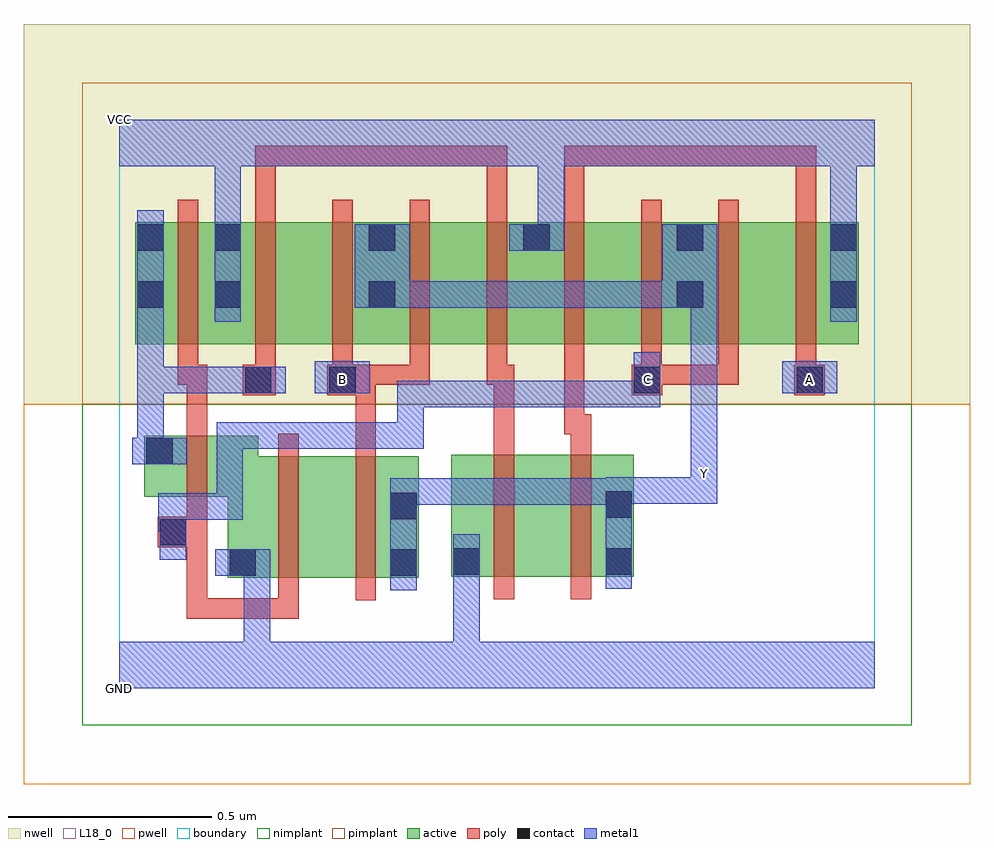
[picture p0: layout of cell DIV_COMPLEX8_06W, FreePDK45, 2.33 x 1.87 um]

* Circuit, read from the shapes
.subckt DIV_COMPLEX8_06W A B C GND VCC Y
M1 GND C n1 VSUBS nfet w=0.15u l=0.05u
M2 n2 C GND VSUBS nfet w=0.3u l=0.05u
M3 Y B n2 VSUBS nfet w=0.3u l=0.05u
M4 n3 n1 GND VSUBS nfet w=0.3u l=0.05u
M5 Y A n3 VSUBS nfet w=0.3u l=0.05u
M6 VCC C n1 n4 pfet w=0.3u l=0.05u
M7 n5 n1 VCC n4 pfet w=0.3u l=0.05u
M8 Y B n5 n4 pfet w=0.3u l=0.05u
M9 n6 B Y n4 pfet w=0.3u l=0.05u
M10 VCC n1 n6 n4 pfet w=0.3u l=0.05u
M11 n7 A VCC n4 pfet w=0.3u l=0.05u
M12 Y C n7 n4 pfet w=0.3u l=0.05u
M13 n8 C Y n4 pfet w=0.3u l=0.05u
M14 VCC A n8 n4 pfet w=0.3u l=0.05u
.ends

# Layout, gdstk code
import gdstk
lib = gdstk.Library(unit=1e-6, precision=1e-09)
def R(c, l, rs):  # rectangles x0, y0, x1, y1
    for r in rs: c.add(gdstk.rectangle(r[:2], r[2:], *l))
def A(c, l, x, y, w, h, nx, ny, dx, dy):  # array of equal rectangles
    R(c, l, [(x+i*dx, y+j*dy, x+i*dx+w, y+j*dy+h) for i in range(nx) for j in range(ny)])
active = (1, 0)
pwell = (2, 0)
nwell = (3, 0)
nimplant = (4, 0)
pimplant = (5, 0)
poly = (9, 0)
contact = (10, 0)
metal1 = (11, 0)
L18_0 = (18, 0)
boundary = (235, 0)

div_complex8_06w = lib.new_cell('DIV_COMPLEX8_06W')
A(div_complex8_06w, active, 0.23, 0.847, 0.075, 0.3, 3, 1, 0.38, 0)
A(div_complex8_06w, active, 0.23, 0.847, 0.225, 0.3, 3, 1, 0.38, 0)
R(div_complex8_06w, active, [(0.267,0.272,0.512,0.572), (0.267,0.272,0.342,0.472), (0.512,0.272,0.737,0.572), (0.662,0.272,0.737,0.572), (0.817,0.275,0.892,0.575), (0.817,0.275,1.042,0.575), (1.042,0.275,1.267,0.575), (1.192,0.275,1.267,0.575), (0.062,0.472,0.342,0.622), (0.062,0.495,0.137,0.622), (0.04,0.847,0.115,1.147), (0.04,0.847,0.305,1.147), (0.455,0.847,0.685,1.147), (0.835,0.847,1.065,1.147), (1.215,0.847,1.442,1.147), (1.367,0.847,1.442,1.147), (1.367,0.847,1.595,1.147), (1.595,0.847,1.82,1.147), (1.745,0.847,1.82,1.147)])
R(div_complex8_06w, pwell, [(-0.235,-0.235,2.095,0.7)])
R(div_complex8_06w, nwell, [(-0.235,0.7,2.095,1.635)])
R(div_complex8_06w, nimplant, [(-0.09,-0.09,1.95,0.7)])
R(div_complex8_06w, pimplant, [(-0.09,0.7,1.95,1.49)])
A(div_complex8_06w, poly, 0.145, 0.747, 0.05, 0.095, 5, 1, 0.19, 0)
A(div_complex8_06w, poly, 1.285, 0.747, 0.05, 0.095, 3, 1, 0.19, 0)
A(div_complex8_06w, poly, 0.145, 0.792, 0.05, 0.41, 9, 1, 0.19, 0)
R(div_complex8_06w, poly, [(0.167,0.172,0.217,0.222), (0.167,0.172,0.217,0.222), (0.167,0.172,0.217,0.222), (0.167,0.172,0.442,0.222), (0.167,0.172,0.217,0.397), (0.392,0.172,0.442,0.222), (0.392,0.172,0.442,0.267), (0.392,0.217,0.442,0.627), (0.582,0.217,0.632,0.627), (0.922,0.22,0.972,0.63), (1.112,0.22,1.162,0.63), (0.095,0.347,0.217,0.422), (0.167,0.372,0.217,0.467), (0.167,0.417,0.217,0.677), (0.582,0.577,0.632,0.772), (0.922,0.58,0.972,0.797), (1.112,0.58,1.162,0.675), (1.095,0.625,1.145,0.842), (1.095,0.625,1.162,0.675), (0.167,0.627,0.217,0.797), (0.305,0.722,0.385,0.797), (0.512,0.722,0.632,0.797), (1.262,0.722,1.337,0.797), (1.662,0.722,1.737,0.797), (0.145,0.747,0.217,0.797), (0.582,0.747,0.765,0.797), (0.715,0.747,0.765,0.797), (0.715,0.747,0.765,0.797), (0.715,0.747,0.765,0.797), (0.905,0.747,0.972,0.797), (1.287,0.747,1.525,0.797), (1.475,0.747,1.525,0.797), (1.475,0.747,1.525,0.797), (1.475,0.747,1.525,0.797), (0.335,1.152,0.385,1.335), (0.905,1.152,0.955,1.335), (1.095,1.152,1.145,1.335), (1.665,1.152,1.715,1.335), (0.335,1.285,0.385,1.335), (0.335,1.285,0.632,1.335), (0.582,1.285,0.632,1.335), (0.582,1.285,0.632,1.335), (0.582,1.285,0.632,1.335), (0.582,1.285,0.822,1.335), (0.772,1.285,0.822,1.335), (0.772,1.285,0.822,1.335), (0.772,1.285,0.822,1.335), (0.772,1.285,0.955,1.335), (0.905,1.285,0.955,1.335), (0.905,1.285,0.955,1.335), (0.905,1.285,0.955,1.335), (1.095,1.285,1.145,1.335), (1.095,1.285,1.145,1.335), (1.095,1.285,1.145,1.335), (1.095,1.285,1.392,1.335), (1.342,1.285,1.392,1.335), (1.342,1.285,1.392,1.335), (1.342,1.285,1.392,1.335), (1.342,1.285,1.525,1.335), (1.475,1.285,1.525,1.335), (1.475,1.285,1.715,1.335), (1.665,1.285,1.715,1.335), (1.665,1.285,1.715,1.335), (1.665,1.285,1.715,1.335)])
A(div_complex8_06w, contact, 0.235, 1.077, 0.065, 0.065, 3, 1, 0.38, 0)
R(div_complex8_06w, contact, [(0.272,0.277,0.337,0.342), (0.667,0.277,0.732,0.342), (0.822,0.28,0.887,0.345), (1.197,0.28,1.262,0.345), (0.1,0.352,0.165,0.417), (0.667,0.417,0.732,0.482), (1.197,0.42,1.262,0.485), (0.067,0.552,0.132,0.617), (0.31,0.727,0.375,0.792), (0.517,0.727,0.582,0.792), (1.267,0.727,1.332,0.792), (1.667,0.727,1.732,0.792), (0.045,0.937,0.11,1.002), (0.235,0.937,0.3,1.002), (0.615,0.937,0.68,1.002), (1.372,0.937,1.437,1.002), (1.75,0.937,1.815,1.002), (0.045,1.077,0.11,1.142), (1.372,1.077,1.437,1.142), (1.75,1.077,1.815,1.142)])
R(div_complex8_06w, metal1, [(0,0,1.86,0.115), (0.307,0.05,0.372,0.115), (0.307,0.05,0.372,0.115), (0.307,0.05,0.372,0.115), (0.307,0.05,0.372,0.115), (0.307,0.05,0.372,0.342), (0.822,0.05,0.887,0.31), (0.667,0.242,0.732,0.517), (0.822,0.245,0.887,0.31), (0.822,0.245,0.887,0.31), (0.822,0.245,0.887,0.31), (0.822,0.245,0.887,0.31), (0.822,0.245,0.887,0.38), (1.197,0.245,1.262,0.52), (0.237,0.277,0.372,0.342), (0.1,0.317,0.165,0.452), (0.097,0.387,0.162,0.452), (0.097,0.387,0.165,0.452), (0.097,0.387,0.162,0.48), (0.097,0.415,0.162,0.48), (0.097,0.415,0.162,0.48), (0.097,0.415,0.162,0.48), (0.097,0.415,0.305,0.48), (0.24,0.415,0.305,0.48), (0.24,0.415,0.305,0.655), (0.667,0.452,0.755,0.517), (0.69,0.452,0.755,0.517), (0.69,0.452,0.887,0.517), (0.822,0.452,0.887,0.517), (0.822,0.452,0.887,0.517), (0.822,0.452,0.887,0.517), (0.822,0.452,1.025,0.517), (0.96,0.452,1.025,0.517), (0.96,0.452,1.025,0.517), (0.96,0.452,1.025,0.517), (0.96,0.452,1.195,0.517), (1.13,0.452,1.195,0.517), (1.13,0.452,1.262,0.517), (1.197,0.455,1.472,0.52), (1.407,0.455,1.472,0.52), (1.407,0.455,1.472,0.52), (1.407,0.455,1.472,0.52), (1.407,0.455,1.472,0.527), (1.407,0.462,1.472,0.597), (1.407,0.532,1.472,1.002), (0.032,0.552,0.167,0.617), (0.045,0.552,0.11,0.792), (0.24,0.59,0.305,0.655), (0.24,0.59,0.305,0.655), (0.24,0.59,0.305,0.655), (0.24,0.59,0.507,0.655), (0.442,0.59,0.507,0.655), (0.442,0.59,0.507,0.655), (0.442,0.59,0.507,0.655), (0.442,0.59,0.75,0.655), (0.685,0.59,0.75,0.655), (0.685,0.59,0.75,0.757), (0.685,0.692,0.75,0.757), (0.685,0.692,0.887,0.757), (0.822,0.692,0.887,0.757), (0.822,0.692,0.887,0.757), (0.822,0.692,0.887,0.757), (0.822,0.692,1.025,0.757), (0.96,0.692,1.025,0.757), (0.96,0.692,1.025,0.757), (0.96,0.692,1.025,0.757), (0.96,0.692,1.195,0.757), (1.13,0.692,1.195,0.757), (1.13,0.692,1.195,0.757), (1.13,0.692,1.195,0.757), (1.13,0.692,1.332,0.757), (1.267,0.692,1.332,0.827), (0.045,0.727,0.11,0.792), (0.045,0.727,0.11,0.792), (0.045,0.727,0.11,0.792), (0.045,0.727,0.34,0.792), (0.045,0.727,0.11,0.967), (0.275,0.727,0.34,0.792), (0.275,0.727,0.34,0.792), (0.275,0.727,0.41,0.792), (0.482,0.727,0.617,0.805), (1.632,0.727,1.767,0.805), (0.045,0.902,0.11,1.177), (0.235,0.902,0.3,1.177), (1.75,0.902,1.815,1.177), (0.58,0.937,0.715,1.142), (0.65,0.937,0.887,1.002), (0.822,0.937,0.887,1.002), (0.822,0.937,0.887,1.002), (0.822,0.937,0.887,1.002), (0.822,0.937,1.025,1.002), (0.96,0.937,1.025,1.002), (0.96,0.937,1.025,1.002), (0.96,0.937,1.025,1.002), (0.96,0.937,1.162,1.002), (1.097,0.937,1.162,1.002), (1.097,0.937,1.162,1.002), (1.097,0.937,1.162,1.002), (1.097,0.937,1.402,1.002), (1.337,0.937,1.402,1.002), (1.337,0.937,1.402,1.002), (1.337,0.937,1.472,1.142), (0.96,1.077,1.095,1.142), (1.03,1.077,1.095,1.142), (1.03,1.077,1.095,1.142), (1.03,1.077,1.095,1.35), (0.235,1.112,0.3,1.35), (1.75,1.112,1.815,1.177), (1.75,1.112,1.815,1.177), (1.75,1.112,1.815,1.35), (0,1.285,1.86,1.4), (0.235,1.285,0.3,1.35), (0.235,1.285,0.3,1.35)])
R(div_complex8_06w, L18_0, [(0,0,1.86,0.115), (0.307,0.05,0.372,0.115), (0.307,0.05,0.372,0.115), (0.307,0.05,0.372,0.115), (0.307,0.05,0.372,0.115), (0.307,0.05,0.372,0.342), (0.822,0.05,0.887,0.31), (0.667,0.242,0.732,0.517), (0.822,0.245,0.887,0.31), (0.822,0.245,0.887,0.31), (0.822,0.245,0.887,0.31), (0.822,0.245,0.887,0.31), (0.822,0.245,0.887,0.38), (1.197,0.245,1.262,0.52), (0.237,0.277,0.372,0.342), (0.1,0.317,0.165,0.452), (0.097,0.387,0.162,0.452), (0.097,0.387,0.162,0.48), (0.097,0.387,0.165,0.452), (0.097,0.415,0.162,0.48), (0.097,0.415,0.162,0.48), (0.097,0.415,0.162,0.48), (0.097,0.415,0.305,0.48), (0.24,0.415,0.305,0.48), (0.24,0.415,0.305,0.655), (0.667,0.452,0.755,0.517), (0.69,0.452,0.755,0.517), (0.69,0.452,0.887,0.517), (0.822,0.452,0.887,0.517), (0.822,0.452,0.887,0.517), (0.822,0.452,0.887,0.517), (0.822,0.452,1.025,0.517), (0.96,0.452,1.025,0.517), (0.96,0.452,1.025,0.517), (0.96,0.452,1.025,0.517), (0.96,0.452,1.195,0.517), (1.13,0.452,1.195,0.517), (1.13,0.452,1.262,0.517), (1.197,0.455,1.472,0.52), (1.407,0.455,1.472,0.52), (1.407,0.455,1.472,0.52), (1.407,0.455,1.472,0.52), (1.407,0.455,1.472,0.527), (1.407,0.462,1.472,0.597), (1.407,0.497,1.472,0.562), (1.407,0.532,1.472,1.002), (0.24,0.59,0.305,0.655), (0.24,0.59,0.305,0.655), (0.24,0.59,0.305,0.655), (0.24,0.59,0.507,0.655), (0.442,0.59,0.507,0.655), (0.442,0.59,0.507,0.655), (0.442,0.59,0.507,0.655), (0.442,0.59,0.75,0.655), (0.685,0.59,0.75,0.655), (0.685,0.59,0.75,0.757), (0.685,0.692,0.75,0.757), (0.685,0.692,0.887,0.757), (0.822,0.692,0.887,0.757), (0.822,0.692,0.887,0.757), (0.822,0.692,0.887,0.757), (0.822,0.692,1.025,0.757), (0.96,0.692,1.025,0.757), (0.96,0.692,1.025,0.757), (0.96,0.692,1.025,0.757), (0.96,0.692,1.195,0.757), (1.13,0.692,1.195,0.757), (1.13,0.692,1.195,0.757), (1.13,0.692,1.195,0.757), (1.13,0.692,1.332,0.757), (1.267,0.692,1.332,0.827), (0.482,0.727,0.617,0.805), (0.517,0.727,0.582,0.792), (1.267,0.727,1.332,0.792), (1.632,0.727,1.767,0.805), (1.667,0.727,1.732,0.792), (0.235,0.902,0.3,1.177), (1.75,0.902,1.815,1.177), (0.58,0.937,0.715,1.142), (0.65,0.937,0.887,1.002), (0.822,0.937,0.887,1.002), (0.822,0.937,0.887,1.002), (0.822,0.937,0.887,1.002), (0.822,0.937,1.025,1.002), (0.96,0.937,1.025,1.002), (0.96,0.937,1.025,1.002), (0.96,0.937,1.025,1.002), (0.96,0.937,1.162,1.002), (1.097,0.937,1.162,1.002), (1.097,0.937,1.162,1.002), (1.097,0.937,1.162,1.002), (1.097,0.937,1.402,1.002), (1.337,0.937,1.402,1.002), (1.337,0.937,1.402,1.002), (1.337,0.937,1.472,1.142), (0.96,1.077,1.095,1.142), (1.03,1.077,1.095,1.142), (1.03,1.077,1.095,1.142), (1.03,1.077,1.095,1.35), (0.235,1.112,0.3,1.35), (1.75,1.112,1.815,1.177), (1.75,1.112,1.815,1.177), (1.75,1.112,1.815,1.35), (0,1.285,1.86,1.4), (0.235,1.285,0.3,1.35), (0.235,1.285,0.3,1.35)])
R(div_complex8_06w, boundary, [(0,0,1.86,1.4)])
div_complex8_06w.add(gdstk.Label('A', (1.7,0.76), layer=11, texttype=0))
div_complex8_06w.add(gdstk.Label('B', (0.55,0.76), layer=11, texttype=0))
div_complex8_06w.add(gdstk.Label('C', (1.3,0.76), layer=11, texttype=0))
div_complex8_06w.add(gdstk.Label('Y', (1.44,0.53), layer=11, texttype=0))
div_complex8_06w.add(gdstk.Label('VCC', (0,1.4), layer=11, texttype=0))
div_complex8_06w.add(gdstk.Label('GND', (0,0), layer=11, texttype=0))

lib.write_gds('DIV_COMPLEX8_06W.gds')
